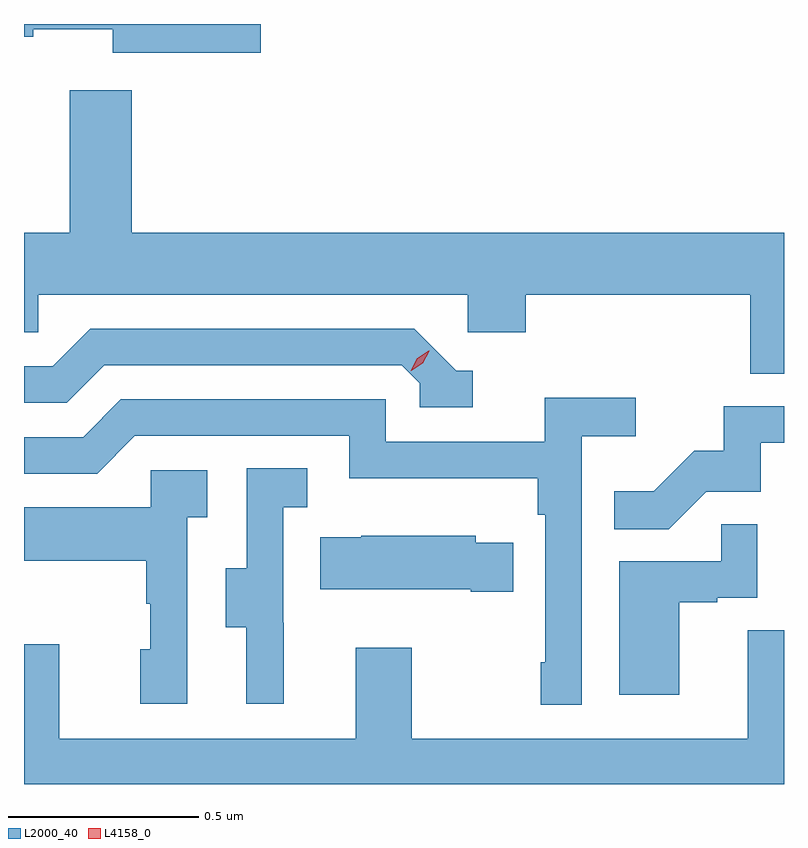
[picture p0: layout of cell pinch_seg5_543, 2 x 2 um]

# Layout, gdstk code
import gdstk
lib = gdstk.Library(unit=1e-6, precision=1e-09)
def P(c, l, *ps):  # polygons
    for p in ps: c.add(gdstk.Polygon(p, *l))
L2000_40 = (2000, 40)
L4158_0 = (4158, 0)

pinch_seg5_543 = lib.new_cell('pinch_seg5_543')
P(pinch_seg5_543, L2000_40, [(956.719,848.149),(956.096,848.149),(956.096,848.116),(956.12,848.116),(956.12,848.135),(956.33,848.135),(956.33,848.074),(956.719,848.074)],
  [(958.096,847.6),(956.38,847.6),(956.38,847.975),(956.216,847.975),(956.216,847.6),(956.096,847.6),(956.096,847.338),(956.133,847.338),(956.133,847.436),(957.264,847.436),(957.264,847.338),(957.416,847.338),(957.416,847.436),(958.007,847.436),(958.007,847.228),(958.096,847.228)],
  [(957.277,847.236),(957.234,847.236),(957.123,847.347),(956.27,847.347),(956.171,847.248),(956.096,847.248),(956.096,847.152),(956.208,847.152),(956.307,847.251),(957.09,847.251),(957.138,847.203),(957.138,847.14),(957.277,847.14)],
  [(957.564,847.064),(957.706,847.064),(957.706,847.166),(957.467,847.166),(957.467,847.05),(957.048,847.05),(957.048,847.161),(956.351,847.161),(956.252,847.062),(956.096,847.062),(956.096,846.966),(956.289,846.966),(956.388,847.065),(956.952,847.065),(956.952,846.953),(957.448,846.953),(957.448,846.857),(957.468,846.857),(957.468,846.469),(957.456,846.469),(957.456,846.357),(957.564,846.357)],
  [(957.891,846.918),(958.035,846.918),(958.035,847.047),(958.096,847.047),(958.096,847.143),(957.937,847.143),(957.937,847.026),(957.86,847.026),(957.753,846.919),(957.649,846.919),(957.649,846.82),(957.793,846.82)],
  [(956.78,846.573),(956.778,846.573),(956.778,846.877),(956.842,846.877),(956.842,846.98),(956.682,846.98),(956.682,846.717),(956.627,846.717),(956.627,846.562),(956.681,846.562),(956.681,846.36),(956.78,846.36)],
  [(956.526,846.851),(956.578,846.851),(956.578,846.975),(956.43,846.975),(956.43,846.877),(956.096,846.877),(956.096,846.737),(956.418,846.737),(956.418,846.623),(956.428,846.623),(956.428,846.504),(956.402,846.504),(956.402,846.36),(956.526,846.36)],
  [(957.82,846.627),(957.92,846.627),(957.92,846.639),(958.026,846.639),(958.026,846.833),(957.931,846.833),(957.931,846.735),(957.662,846.735),(957.662,846.384),(957.82,846.384)],
  [(957.383,846.784),(957.285,846.784),(957.285,846.802),(956.983,846.802),(956.983,846.799),(956.875,846.799),(956.875,846.662),(957.272,846.662),(957.272,846.655),(957.383,846.655)],
  [(958.096,846.554),(958.001,846.554),(958.001,846.268),(957.117,846.268),(957.117,846.508),(956.969,846.508),(956.969,846.268),(956.189,846.268),(956.189,846.517),(956.096,846.517),(956.096,846.149),(958.096,846.149)])
P(pinch_seg5_543, L4158_0, [(957.114,847.237),(957.114,847.237),(957.131,847.269),(957.161,847.289),(957.162,847.289),(957.162,847.288),(957.145,847.256),(957.115,847.237)])

lib.write_gds('pinch_seg5_543.gds')
